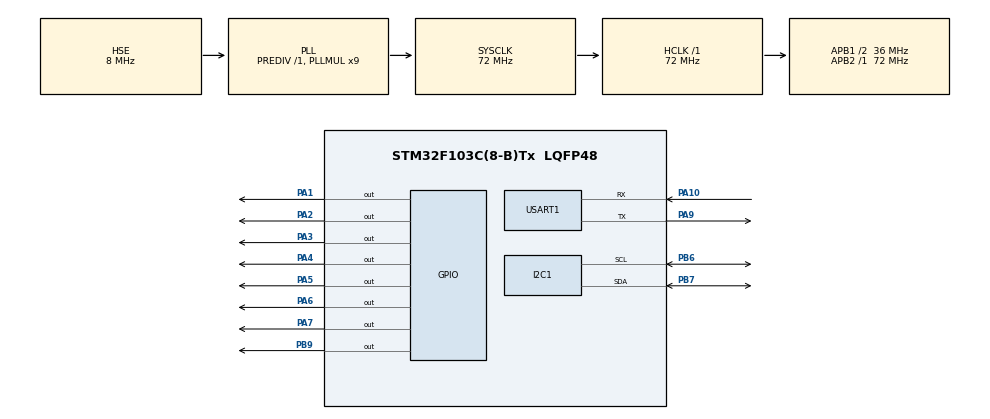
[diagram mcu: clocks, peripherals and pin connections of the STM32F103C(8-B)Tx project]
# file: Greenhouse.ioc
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Mcu.Family=STM32F1
Mcu.Name=STM32F103C(8-B)Tx
Mcu.Package=LQFP48
NVIC.PriorityGroup=NVIC_PRIORITYGROUP_4
PA1.Signal=GPIO_Output
PA10.Mode=Asynchronous
PA10.Signal=USART1_RX
PA13.Mode=Serial_Wire
PA13.Signal=SYS_JTMS-SWDIO
PA14.Mode=Serial_Wire
PA14.Signal=SYS_JTCK-SWCLK
PA2.Signal=GPIO_Output
PA3.Signal=GPIO_Output
PA4.Signal=GPIO_Output
PA5.Signal=GPIO_Output
PA6.Signal=GPIO_Output
PA7.Signal=GPIO_Output
PA9.Mode=Asynchronous
PA9.Signal=USART1_TX
PB6.Mode=I2C
PB6.Signal=I2C1_SCL
PB7.Mode=I2C
PB7.Signal=I2C1_SDA
PB9.Signal=GPIO_Output
PD0-OSC_IN.Mode=HSE-External-Oscillator
PD0-OSC_IN.Signal=RCC_OSC_IN
PD1-OSC_OUT.Mode=HSE-External-Oscillator
PD1-OSC_OUT.Signal=RCC_OSC_OUT
ProjectManager.HeapSize=0x200
ProjectManager.StackSize=0x400
ProjectManager.TargetToolchain=MDK-ARM V5.32
RCC.AHBFreq_Value=72000000
RCC.APB1CLKDivider=RCC_HCLK_DIV2
RCC.APB1Freq_Value=36000000
RCC.APB1TimFreq_Value=72000000
RCC.APB2Freq_Value=72000000
RCC.APB2TimFreq_Value=72000000
RCC.HCLKFreq_Value=72000000
RCC.PLLMUL=RCC_PLL_MUL9
RCC.PLLSourceVirtual=RCC_PLLSOURCE_HSE
RCC.SYSCLKFreq_VALUE=72000000
RCC.SYSCLKSource=RCC_SYSCLKSOURCE_PLLCLK
RCC.USBFreq_Value=72000000
TIM1.Prescaler=71
USART1.VirtualMode=VM_ASYNC
VP_TIM1_VS_ClockSourceINT.Mode=Internal
board=custom

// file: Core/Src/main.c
/* USER CODE BEGIN Header */
/**
  ******************************************************************************
  * @file           : main.c
  * @brief          : Main program body
  ******************************************************************************
  * @attention
  *
  * Copyright (c) 2026 STMicroelectronics.
  * All rights reserved.
  *
  * This software is licensed under terms that can be found in the LICENSE file
  * in the root directory of this software component.
  * If no LICENSE file comes with this software, it is provided AS-IS.
  *
  ******************************************************************************
  */
/* USER CODE END Header */
#include "main.h"

/* USER CODE BEGIN Includes */
#include <string.h>
#include <stdio.h>
/* USER CODE END Includes */

I2C_HandleTypeDef hi2c1;

TIM_HandleTypeDef htim1;

UART_HandleTypeDef huart1;

void SystemClock_Config(void);
static void MX_GPIO_Init(void);
static void MX_I2C1_Init(void);
static void MX_USART1_UART_Init(void);
static void MX_TIM1_Init(void);

/* USER CODE BEGIN 0 */
#define DHT11_PORT GPIOB
#define DHT11_PIN GPIO_PIN_9
uint8_t RHI, RHD, TCI, TCD, SUM;
uint32_t pMillis, cMillis;
float tCelsius = 0;
float tFahrenheit = 0;
float RH = 0;
char msg[50];

void microDelay (uint16_t delay)
{
  __HAL_TIM_SET_COUNTER(&htim1, 0);
  while (__HAL_TIM_GET_COUNTER(&htim1) < delay);
}

uint8_t DHT11_Start (void)
{
  uint8_t Response = 0;
  GPIO_InitTypeDef GPIO_InitStructPrivate = {0};
  GPIO_InitStructPrivate.Pin = DHT11_PIN;
  GPIO_InitStructPrivate.Mode = GPIO_MODE_OUTPUT_PP;
  GPIO_InitStructPrivate.Speed = GPIO_SPEED_FREQ_LOW;
  GPIO_InitStructPrivate.Pull = GPIO_NOPULL;
  HAL_GPIO_Init(DHT11_PORT, &GPIO_InitStructPrivate); // set the pin as output
  HAL_GPIO_WritePin (DHT11_PORT, DHT11_PIN, 0);   // pull the pin low
  HAL_Delay(20);   // wait for 20ms
  HAL_GPIO_WritePin (DHT11_PORT, DHT11_PIN, 1);   // pull the pin high
  microDelay (30);   // wait for 30us
  GPIO_InitStructPrivate.Mode = GPIO_MODE_INPUT;
  GPIO_InitStructPrivate.Pull = GPIO_PULLUP;
  HAL_GPIO_Init(DHT11_PORT, &GPIO_InitStructPrivate); // set the pin as input
  microDelay (40);
  if (!(HAL_GPIO_ReadPin (DHT11_PORT, DHT11_PIN)))
  {
    microDelay (80);
    if ((HAL_GPIO_ReadPin (DHT11_PORT, DHT11_PIN))) Response = 1;
  }
  pMillis = HAL_GetTick();
  cMillis = HAL_GetTick();
  while ((HAL_GPIO_ReadPin (DHT11_PORT, DHT11_PIN)) && pMillis + 2 > cMillis)
  {
    cMillis = HAL_GetTick();
  }
  return Response;
}

uint8_t DHT11_Read (void)
{
  uint8_t a,b;
  for (a=0;a<8;a++)
  {
    pMillis = HAL_GetTick();
    cMillis = HAL_GetTick();
    while (!(HAL_GPIO_ReadPin (DHT11_PORT, DHT11_PIN)) && pMillis + 2 > cMillis)
    {  // wait for the pin to go high
      cMillis = HAL_GetTick();
    }
    microDelay (40);   // wait for 40 us
    if (!(HAL_GPIO_ReadPin (DHT11_PORT, DHT11_PIN)))   // if the pin is low
      b&= ~(1<<(7-a));
    else
      b|= (1<<(7-a));
    pMillis = HAL_GetTick();
    cMillis = HAL_GetTick();
    while ((HAL_GPIO_ReadPin (DHT11_PORT, DHT11_PIN)) && pMillis + 2 > cMillis)
    {  // wait for the pin to go low
      cMillis = HAL_GetTick();
    }
  }
  return b;
}
/* USER CODE END 0 */

int main(void)
{

  /* MCU Configuration--------------------------------------------------------*/

  /* Reset of all peripherals, Initializes the Flash interface and the Systick. */
  HAL_Init();

  /* Configure the system clock */
  SystemClock_Config();

  /* Initialize all configured peripherals */
  MX_GPIO_Init();
  MX_I2C1_Init();
  MX_USART1_UART_Init();
  MX_TIM1_Init();
  /* USER CODE BEGIN 2 */
	HAL_GPIO_WritePin(GPIOA,GPIO_PIN_5,1);

	HAL_GPIO_WritePin(GPIOA,GPIO_PIN_7,0);
	HAL_GPIO_WritePin(GPIOA,GPIO_PIN_6,0);

	HAL_Delay(2000);
	HAL_TIM_Base_Start(&htim1);

  /* USER CODE END 2 */

  /* Infinite loop */
  /* USER CODE BEGIN WHILE */
  while (1)
  {
	HAL_GPIO_WritePin(GPIOA,GPIO_PIN_1,0);
	HAL_GPIO_WritePin(GPIOA,GPIO_PIN_2,0);
	HAL_GPIO_WritePin(GPIOA,GPIO_PIN_3,0);
	HAL_GPIO_WritePin(GPIOA,GPIO_PIN_4,0);
    /* USER CODE END WHILE */
	if(DHT11_Start())
    {
      RHI = DHT11_Read(); // Relative humidity integral
      RHD = DHT11_Read(); // Relative humidity decimal
      TCI = DHT11_Read(); // Celsius integral
      TCD = DHT11_Read(); // Celsius decimal
      SUM = DHT11_Read(); // Check sum
			if(SUM<=0){
				HAL_GPIO_WritePin(GPIOA,GPIO_PIN_1,7);
			}
      else if (RHI + RHD + TCI + TCD == SUM)
      {
        // Can use RHI and TCI for any purposes if whole number only needed
        tCelsius = (float)TCI + (float)(TCD/10.0);

				HAL_GPIO_WritePin(GPIOA,GPIO_PIN_6,0);
				HAL_GPIO_WritePin(GPIOA,GPIO_PIN_7,1);

				int dah = (int)tCelsius/10;
				if(dah >= 8){
				dah -= 8;
					HAL_GPIO_WritePin(GPIOA,GPIO_PIN_4,1);
				}
				if(dah >= 4){
					dah -= 4;
					HAL_GPIO_WritePin(GPIOA,GPIO_PIN_3,1);
				}
				if(dah >= 2){
					dah -= 2;
					HAL_GPIO_WritePin(GPIOA,GPIO_PIN_2,1);
				}
				if(dah >= 1){
					dah -= 1;
					HAL_GPIO_WritePin(GPIOA,GPIO_PIN_1,1);
				}

				HAL_Delay(250);
				HAL_GPIO_WritePin(GPIOA,GPIO_PIN_1,0);
				HAL_GPIO_WritePin(GPIOA,GPIO_PIN_2,0);
				HAL_GPIO_WritePin(GPIOA,GPIO_PIN_3,0);
				HAL_GPIO_WritePin(GPIOA,GPIO_PIN_4,0);

				int yek = (int)tCelsius%10;
				if(yek >= 8){
					yek -= 8;
					HAL_GPIO_WritePin(GPIOA,GPIO_PIN_4,1);
				}
				if(yek >= 4){
					yek -= 4;
					HAL_GPIO_WritePin(GPIOA,GPIO_PIN_3,1);
				}
				if(yek >= 2){
					yek -= 2;
					HAL_GPIO_WritePin(GPIOA,GPIO_PIN_2,1);
				}
				if(yek >= 1){
					yek -= 1;
					HAL_GPIO_WritePin(GPIOA,GPIO_PIN_1,1);
				}

				HAL_Delay(250);
				HAL_GPIO_WritePin(GPIOA,GPIO_PIN_1,0);
				HAL_GPIO_WritePin(GPIOA,GPIO_PIN_2,0);
				HAL_GPIO_WritePin(GPIOA,GPIO_PIN_3,0);
				HAL_GPIO_WritePin(GPIOA,GPIO_PIN_4,0);

				HAL_GPIO_WritePin(GPIOA,GPIO_PIN_7,0);
				HAL_GPIO_WritePin(GPIOA,GPIO_PIN_6,1);
				RH = (float)RHI + (float)(RHD/10.0);

				dah = (int)RHI/10;
				if(dah >= 8){
				dah -= 8;
					HAL_GPIO_WritePin(GPIOA,GPIO_PIN_4,1);
				}
				if(dah >= 4){
					dah -= 4;
					HAL_GPIO_WritePin(GPIOA,GPIO_PIN_3,1);
				}
				if(dah >= 2){
					dah -= 2;
					HAL_GPIO_WritePin(GPIOA,GPIO_PIN_2,1);
				}
				if(dah >= 1){
					dah -= 1;
					HAL_GPIO_WritePin(GPIOA,GPIO_PIN_1,1);
				}

				HAL_Delay(250);
				HAL_GPIO_WritePin(GPIOA,GPIO_PIN_1,0);
				HAL_GPIO_WritePin(GPIOA,GPIO_PIN_2,0);
				HAL_GPIO_WritePin(GPIOA,GPIO_PIN_3,0);
				HAL_GPIO_WritePin(GPIOA,GPIO_PIN_4,0);

				yek = (int)tCelsius%10;
				if(yek >= 8){
					yek -= 8;
					HAL_GPIO_WritePin(GPIOA,GPIO_PIN_4,1);
				}
				if(yek >= 4){
					yek -= 4;
					HAL_GPIO_WritePin(GPIOA,GPIO_PIN_3,1);
				}
				if(yek >= 2){
					yek -= 2;
					HAL_GPIO_WritePin(GPIOA,GPIO_PIN_2,1);
				}
				if(yek >= 1){
					yek -= 1;
					HAL_GPIO_WritePin(GPIOA,GPIO_PIN_1,1);
				}
        // Can use tCelsius, tFahrenheit and RH for any purposes
      }
    /* USER CODE BEGIN 3 */
		}
		int T = (int)tCelsius;
		int R = (int)RH;
		sprintf(msg, "{\"t\": %d, \"h\": %d}\n",T ,R );
    HAL_UART_Transmit(&huart1, (uint8_t*)msg, strlen(msg), 100);
		HAL_Delay(1000);

	}
  /* USER CODE END 3 */
}

void SystemClock_Config(void)
{
  RCC_OscInitTypeDef RCC_OscInitStruct = {0};
  RCC_ClkInitTypeDef RCC_ClkInitStruct = {0};

  /** Initializes the RCC Oscillators according to the specified parameters
  * in the RCC_OscInitTypeDef structure.
  */
  RCC_OscInitStruct.OscillatorType = RCC_OSCILLATORTYPE_HSE;
  RCC_OscInitStruct.HSEState = RCC_HSE_ON;
  RCC_OscInitStruct.HSEPredivValue = RCC_HSE_PREDIV_DIV1;
  RCC_OscInitStruct.HSIState = RCC_HSI_ON;
  RCC_OscInitStruct.PLL.PLLState = RCC_PLL_ON;
  RCC_OscInitStruct.PLL.PLLSource = RCC_PLLSOURCE_HSE;
  RCC_OscInitStruct.PLL.PLLMUL = RCC_PLL_MUL9;
  if (HAL_RCC_OscConfig(&RCC_OscInitStruct) != HAL_OK)
  {
    Error_Handler();
  }

  /** Initializes the CPU, AHB and APB buses clocks
  */
  RCC_ClkInitStruct.ClockType = RCC_CLOCKTYPE_HCLK|RCC_CLOCKTYPE_SYSCLK
                              |RCC_CLOCKTYPE_PCLK1|RCC_CLOCKTYPE_PCLK2;
  RCC_ClkInitStruct.SYSCLKSource = RCC_SYSCLKSOURCE_PLLCLK;
  RCC_ClkInitStruct.AHBCLKDivider = RCC_SYSCLK_DIV1;
  RCC_ClkInitStruct.APB1CLKDivider = RCC_HCLK_DIV2;
  RCC_ClkInitStruct.APB2CLKDivider = RCC_HCLK_DIV1;

  if (HAL_RCC_ClockConfig(&RCC_ClkInitStruct, FLASH_LATENCY_2) != HAL_OK)
  {
    Error_Handler();
  }
}

static void MX_I2C1_Init(void)
{

  hi2c1.Instance = I2C1;
  hi2c1.Init.ClockSpeed = 100000;
  hi2c1.Init.DutyCycle = I2C_DUTYCYCLE_2;
  hi2c1.Init.OwnAddress1 = 0;
  hi2c1.Init.AddressingMode = I2C_ADDRESSINGMODE_7BIT;
  hi2c1.Init.DualAddressMode = I2C_DUALADDRESS_DISABLE;
  hi2c1.Init.OwnAddress2 = 0;
  hi2c1.Init.GeneralCallMode = I2C_GENERALCALL_DISABLE;
  hi2c1.Init.NoStretchMode = I2C_NOSTRETCH_DISABLE;
  if (HAL_I2C_Init(&hi2c1) != HAL_OK)
  {
    Error_Handler();
  }

}

static void MX_TIM1_Init(void)
{

  TIM_ClockConfigTypeDef sClockSourceConfig = {0};
  TIM_MasterConfigTypeDef sMasterConfig = {0};

  htim1.Instance = TIM1;
  htim1.Init.Prescaler = 71;
  htim1.Init.CounterMode = TIM_COUNTERMODE_UP;
  htim1.Init.Period = 65535;
  htim1.Init.ClockDivision = TIM_CLOCKDIVISION_DIV1;
  htim1.Init.RepetitionCounter = 0;
  htim1.Init.AutoReloadPreload = TIM_AUTORELOAD_PRELOAD_DISABLE;
  if (HAL_TIM_Base_Init(&htim1) != HAL_OK)
  {
    Error_Handler();
  }
  sClockSourceConfig.ClockSource = TIM_CLOCKSOURCE_INTERNAL;
  if (HAL_TIM_ConfigClockSource(&htim1, &sClockSourceConfig) != HAL_OK)
  {
    Error_Handler();
  }
  sMasterConfig.MasterOutputTrigger = TIM_TRGO_RESET;
  sMasterConfig.MasterSlaveMode = TIM_MASTERSLAVEMODE_DISABLE;
  if (HAL_TIMEx_MasterConfigSynchronization(&htim1, &sMasterConfig) != HAL_OK)
  {
    Error_Handler();
  }

}

static void MX_USART1_UART_Init(void)
{

  huart1.Instance = USART1;
  huart1.Init.BaudRate = 115200;
  huart1.Init.WordLength = UART_WORDLENGTH_8B;
  huart1.Init.StopBits = UART_STOPBITS_1;
  huart1.Init.Parity = UART_PARITY_NONE;
  huart1.Init.Mode = UART_MODE_TX_RX;
  huart1.Init.HwFlowCtl = UART_HWCONTROL_NONE;
  huart1.Init.OverSampling = UART_OVERSAMPLING_16;
  if (HAL_UART_Init(&huart1) != HAL_OK)
  {
    Error_Handler();
  }

}

static void MX_GPIO_Init(void)
{
  GPIO_InitTypeDef GPIO_InitStruct = {0};

  /* GPIO Ports Clock Enable */
  __HAL_RCC_GPIOD_CLK_ENABLE();
  __HAL_RCC_GPIOA_CLK_ENABLE();
  __HAL_RCC_GPIOB_CLK_ENABLE();

  /*Configure GPIO pin Output Level */
  HAL_GPIO_WritePin(GPIOA, GPIO_PIN_1|GPIO_PIN_2|GPIO_PIN_3|GPIO_PIN_4
                          |GPIO_PIN_5|GPIO_PIN_6|GPIO_PIN_7, GPIO_PIN_RESET);

  /*Configure GPIO pin Output Level */
  HAL_GPIO_WritePin(GPIOB, GPIO_PIN_9, GPIO_PIN_RESET);

  /*Configure GPIO pins : PA1 PA2 PA3 PA4
                           PA5 PA6 PA7 */
  GPIO_InitStruct.Pin = GPIO_PIN_1|GPIO_PIN_2|GPIO_PIN_3|GPIO_PIN_4
                          |GPIO_PIN_5|GPIO_PIN_6|GPIO_PIN_7;
  GPIO_InitStruct.Mode = GPIO_MODE_OUTPUT_PP;
  GPIO_InitStruct.Pull = GPIO_NOPULL;
  GPIO_InitStruct.Speed = GPIO_SPEED_FREQ_LOW;
  HAL_GPIO_Init(GPIOA, &GPIO_InitStruct);

  /*Configure GPIO pin : PB9 */
  GPIO_InitStruct.Pin = GPIO_PIN_9;
  GPIO_InitStruct.Mode = GPIO_MODE_OUTPUT_PP;
  GPIO_InitStruct.Pull = GPIO_NOPULL;
  GPIO_InitStruct.Speed = GPIO_SPEED_FREQ_LOW;
  HAL_GPIO_Init(GPIOB, &GPIO_InitStruct);

}

void Error_Handler(void)
{
  __disable_irq();
  while (1)
  {
  }
}
